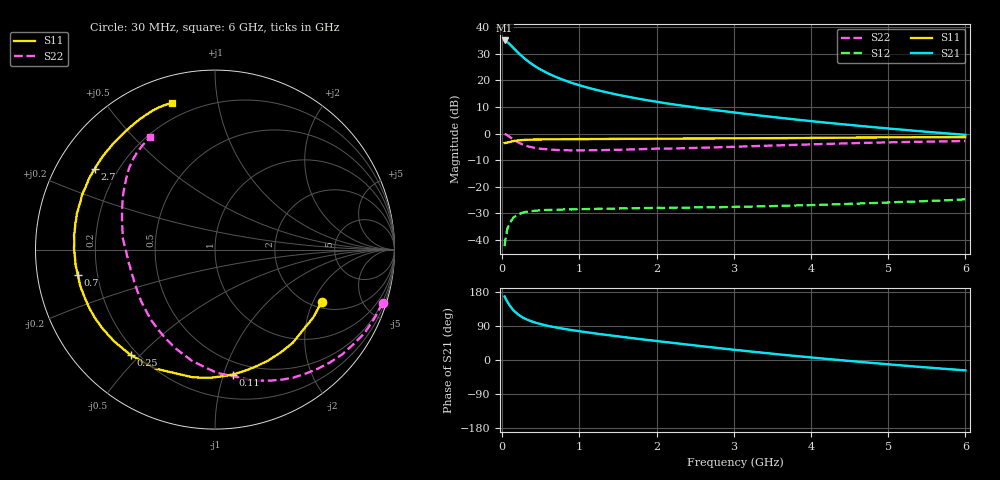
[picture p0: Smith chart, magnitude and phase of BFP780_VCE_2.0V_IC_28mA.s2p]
! Infineon Technologies  Discrete & RF Semiconductors
! BFP780
! VCE =  2.0 V,  IC =  28 mA
! Common Emitter S-Parameters:  Jul 2015
# GHz  S  MA  R  50
!  f  S11  S21  S12  S22
! GHz  MAG  ANG  MAG  ANG  MAG  ANG  MAG  ANG
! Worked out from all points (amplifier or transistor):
!   75 points, 30 MHz to 6 GHz, reference 50 ohm
!   highest |S21| = 35.0 dB at 30 MHz (marker M1)
!   |S21| within 3 dB of that: start of sweep to 150.8 MHz
!   unconditionally stable (mu >= 1): 2.25 GHz to end of sweep
!   at 150 MHz: K = 0.09, MSG = 31.8 dB, |S12| = -31.5 dB
!   at 2.3 GHz: K = 1.02, MAG = 18.4 dB, |S12| = -27.9 dB
!   at 6 GHz: K = 1.47, MAG = 8.1 dB, |S12| = -24.8 dB
!   S11 on the Smith chart (normalised r, x): 30 MHz: 2.23, -2.34; 110 MHz: 0.39, -1.08; 250 MHz: 0.17, -0.47; 700 MHz: 0.13, -0.09; 2.7 GHz: 0.12, +0.30; 6 GHz: 0.12, +0.74
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0.03  0.6625 -26.4  56.31 167.6  0.0076 77.1  0.9802 -17.6
0.05  0.6647 -42.9  54.48 159.4  0.0116 65.8  0.9543 -29.1
0.07  0.6798 -57.2  51.82 152.3  0.0167 66.0  0.9183 -39.5
0.09  0.6898 -70.5  48.84 145.7  0.0197 57.9  0.8761 -49.4
0.11  0.7031 -81.8  45.75 139.9  0.022 52.4  0.8364 -58.5
0.15  0.722 -100.2  39.97 130.2  0.0267 44.3  0.7608 -73.7
0.2  0.7419 -116.7  33.72 121.0  0.0298 37.0  0.6862 -89.3
0.25  0.7524 -128.6  28.84 114.0  0.0319 31.2  0.634 -101.5
0.3  0.7596 -137.7  24.95 108.5  0.0334 26.6  0.5936 -111.6
0.35  0.7653 -144.7  21.91 104.1  0.0345 24.1  0.5644 -119.8
0.4  0.7696 -150.1  19.46 100.5  0.0349 22.2  0.5441 -126.4
0.5  0.7731 -158.6  15.87 94.5  0.036 18.1  0.5162 -137.3
0.7  0.7771 -169.7  11.49 85.7  0.0367 14.2  0.4903 -151.8
0.9  0.7817 -177.3  8.972 78.9  0.0372 12.4  0.4819 -161.3
1.1  0.7849 176.8  7.332 72.9  0.0379 11.2  0.4824 -168.3
1.5  0.7914 167.6  5.351 62.4  0.0388 10.3  0.4937 -178.1
2.1  0.8009 156.3  3.748 47.7  0.0398 9.0  0.5187 171.4
2.7  0.8068 146.3  2.828 33.8  0.0411 9.0  0.5456 161.6
3.1  0.8132 139.9  2.393 25.0  0.0421 9.2  0.5691 155.3
4.1  0.8283 125.7  1.654 4.8  0.0455 10.3  0.6307 141.9
5.1  0.8486 114.4  1.209 -13.1  0.0512 9.8  0.6866 130.3
6  0.8527 106.2  0.944 -27.4  0.0577 7.3  0.7229 120.0
